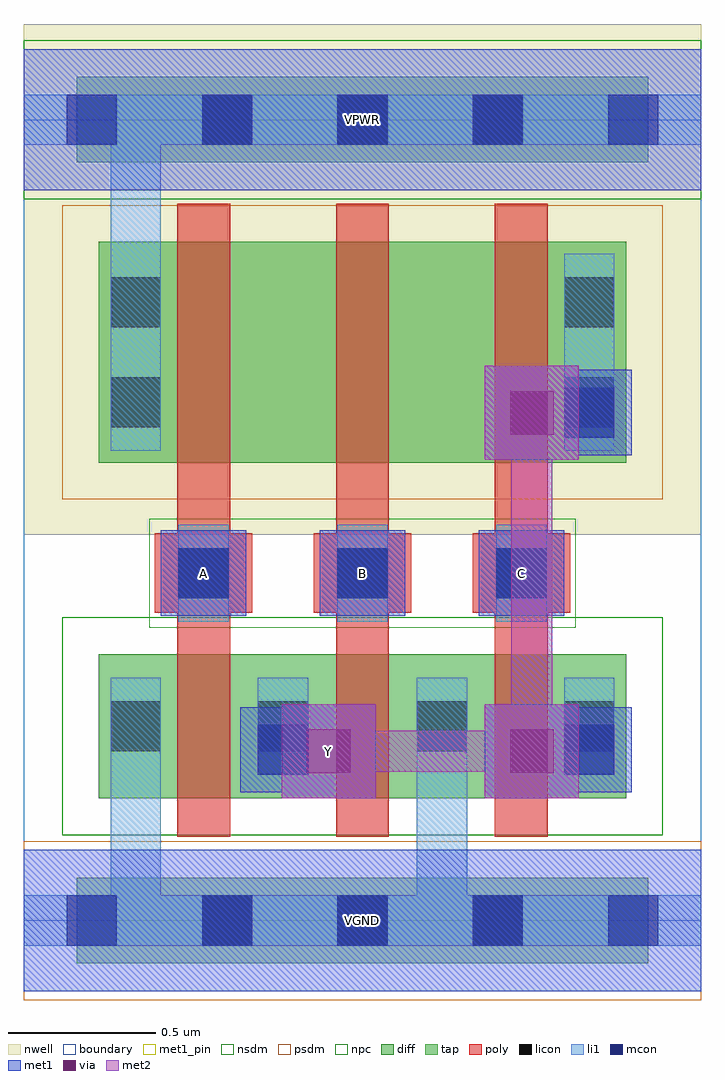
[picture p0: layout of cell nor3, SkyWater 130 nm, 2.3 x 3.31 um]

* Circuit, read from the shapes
.subckt nor3 A B C VGND VPWR Y
XM1 Y A VGND VGND sky130_fd_pr__nfet_01v8 w=0.49 l=0.18
XM2 VGND B Y VGND sky130_fd_pr__nfet_01v8 w=0.49 l=0.18
XM3 Y C VGND VGND sky130_fd_pr__nfet_01v8 w=0.49 l=0.18
XM4 n1 A VPWR VPWR sky130_fd_pr__pfet_01v8 w=0.75 l=0.18
XM5 n2 B n1 VPWR sky130_fd_pr__pfet_01v8 w=0.75 l=0.18
XM6 Y C n2 VPWR sky130_fd_pr__pfet_01v8 w=0.75 l=0.18
.ends

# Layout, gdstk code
import gdstk
lib = gdstk.Library(unit=1e-6, precision=1e-09)
def R(c, l, rs):  # rectangles x0, y0, x1, y1
    for r in rs: c.add(gdstk.rectangle(r[:2], r[2:], *l))
def A(c, l, x, y, w, h, nx, ny, dx, dy):  # array of equal rectangles
    R(c, l, [(x+i*dx, y+j*dy, x+i*dx+w, y+j*dy+h) for i in range(nx) for j in range(ny)])
nwell = (64, 20)
diff = (65, 20)
tap = (65, 44)
poly = (66, 20)
licon = (66, 44)
li1 = (67, 20)
mcon = (67, 44)
met1_pin = (68, 16)
met1 = (68, 20)
via = (68, 44)
met2 = (69, 20)
nsdm = (93, 44)
psdm = (94, 20)
npc = (95, 20)
boundary = (235, 4)

nor3 = lib.new_cell('nor3')
R(nor3, nwell, [(0,1.31,2.3,3.045)])
R(nor3, diff, [(0.255,0.415,2.045,0.905), (0.255,1.555,2.045,2.305)])
R(nor3, tap, [(0.18,-0.145,2.12,0.145), (0.18,2.575,2.12,2.865)])
A(nor3, poly, 0.52, 0.285, 0.18, 2.15, 3, 1, 0.54, 0)
A(nor3, poly, 0.445, 1.045, 0.33, 0.27, 3, 1, 0.54, 0)
A(nor3, licon, 0.605, -0.085, 0.17, 0.17, 3, 2, 0.46, 2.72)
A(nor3, licon, 0.525, 1.095, 0.17, 0.17, 3, 1, 0.54, 0)
R(nor3, licon, [(0.295,0.575,0.465,0.745), (0.795,0.575,0.965,0.745), (1.335,0.575,1.505,0.745), (1.835,0.575,2.005,0.745), (0.295,1.675,0.465,1.845), (1.835,1.675,2.005,1.845), (0.295,2.015,0.465,2.185), (1.835,2.015,2.005,2.185)])
A(nor3, li1, 0.525, 1.015, 0.17, 0.33, 3, 1, 0.54, 0)
R(nor3, li1, [(0,-0.085,2.3,0.085), (0.295,-0.085,0.465,0.825), (1.335,-0.085,1.505,0.825), (0.295,0.495,0.465,0.825), (0.795,0.495,0.965,0.825), (1.335,0.495,1.505,0.825), (1.835,0.495,2.005,0.825), (0.295,1.595,0.465,2.265), (0.295,1.595,0.465,2.805), (1.835,1.595,2.005,2.265), (0,2.635,2.3,2.805)])
A(nor3, mcon, 0.145, -0.085, 0.17, 0.17, 5, 2, 0.46, 2.72)
A(nor3, mcon, 0.525, 1.095, 0.17, 0.17, 3, 1, 0.54, 0)
R(nor3, mcon, [(0.795,0.495,0.965,0.665), (1.835,0.495,2.005,0.665), (1.835,1.64,2.005,1.81)])
A(nor3, met1_pin, 0.465, 1.035, 0.29, 0.29, 3, 1, 0.54, 0)
R(nor3, met1_pin, [(0,-0.24,2.3,0.24), (0.875,0.415,1.195,0.735), (0,2.48,2.3,2.96)])
A(nor3, met1, 0.465, 1.035, 0.29, 0.29, 3, 1, 0.54, 0)
R(nor3, met1, [(0,-0.24,2.3,0.24), (0.875,0.415,1.195,0.735), (1.565,0.415,1.885,0.735), (0.735,0.435,1.025,0.725), (1.775,0.435,2.065,0.725), (0.965,0.505,1.105,0.65), (1.655,0.505,1.795,0.65), (0.81,0.51,1.105,0.65), (1.655,0.51,1.99,0.65), (1.565,1.565,1.885,1.885), (1.775,1.58,2.065,1.87), (1.655,1.655,1.99,1.795), (0,2.48,2.3,2.96)])
R(nor3, via, [(0.96,0.5,1.11,0.65), (1.65,0.5,1.8,0.65), (1.65,1.65,1.8,1.8)])
R(nor3, met2, [(0.875,0.415,1.195,0.735), (1.565,0.415,1.885,0.735), (0.965,0.505,1.795,0.645), (1.655,0.505,1.795,1.795), (1.565,1.565,1.885,1.885)])
R(nor3, nsdm, [(0.13,0.29,2.17,1.03), (0,2.45,2.3,2.99)])
R(nor3, psdm, [(0,-0.27,2.3,0.27), (0.13,1.43,2.17,2.43)])
R(nor3, npc, [(0.425,0.995,1.875,1.365)])
R(nor3, boundary, [(0,0,2.3,2.72)])
nor3.add(gdstk.Label('A', (0.61,1.18), layer=68, texttype=5))
nor3.add(gdstk.Label('B', (1.15,1.18), layer=68, texttype=5))
nor3.add(gdstk.Label('C', (1.69,1.18), layer=68, texttype=5))
nor3.add(gdstk.Label('Y', (1.035,0.575), layer=68, texttype=5))
nor3.add(gdstk.Label('VPWR', (1.15,2.72), layer=68, texttype=5))
nor3.add(gdstk.Label('VGND', (1.15,0), layer=68, texttype=5))
nor3.add(gdstk.Label('A', (0.61,1.18), layer=68, texttype=16))
nor3.add(gdstk.Label('B', (1.15,1.18), layer=68, texttype=16))
nor3.add(gdstk.Label('C', (1.69,1.18), layer=68, texttype=16))
nor3.add(gdstk.Label('Y', (1.035,0.575), layer=68, texttype=16))
nor3.add(gdstk.Label('VPWR', (1.15,2.72), layer=68, texttype=16))
nor3.add(gdstk.Label('VGND', (1.15,0), layer=68, texttype=16))

lib.write_gds('nor3.gds')
